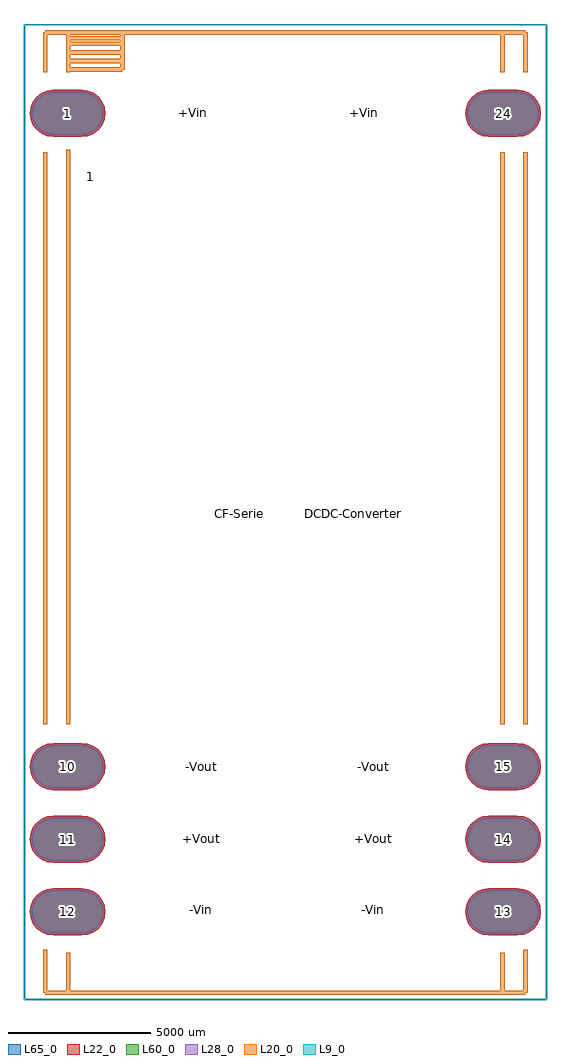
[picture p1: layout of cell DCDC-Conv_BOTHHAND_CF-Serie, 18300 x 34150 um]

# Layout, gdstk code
import gdstk
lib = gdstk.Library(unit=1e-6, precision=1e-09)
def P(c, l, *ps):  # polygons
    for p in ps: c.add(gdstk.Polygon(p, *l))
L9_0 = (9, 0)
L20_0 = (20, 0)
L22_0 = (22, 0)
L28_0 = (28, 0)
L60_0 = (60, 0)
L65_0 = (65, 0)

dcdc_conv_bothhand_cf_se = lib.new_cell('DCDC-Conv_BOTHHAND_CF-Serie')
P(dcdc_conv_bothhand_cf_se, L22_0, [(14740.89,-825.57),(15739.11,-825.57),(15952.783,-797.439),(16151.895,-714.965),(16322.876,-583.766),(16454.075,-412.785),(16536.549,-213.673),(16564.68,0),(16536.549,213.673),(16454.075,412.785),(16322.876,583.766),(16151.895,714.965),(15952.783,797.439),(15739.11,825.57),(14740.89,825.57),(14527.217,797.439),(14328.105,714.965),(14157.124,583.766),(14025.925,412.785),(13943.451,213.673),(13915.32,0),(13943.451,-213.673),(14025.925,-412.785),(14157.124,-583.766),(14328.105,-714.965),(14527.217,-797.439)],
  [(14740.89,-23685.57),(15739.11,-23685.57),(15952.783,-23657.439),(16151.895,-23574.965),(16322.876,-23443.766),(16454.075,-23272.785),(16536.549,-23073.673),(16564.68,-22860),(16536.549,-22646.327),(16454.075,-22447.215),(16322.876,-22276.234),(16151.895,-22145.035),(15952.783,-22062.561),(15739.11,-22034.43),(14740.89,-22034.43),(14527.217,-22062.561),(14328.105,-22145.035),(14157.124,-22276.234),(14025.925,-22447.215),(13943.451,-22646.327),(13915.32,-22860),(13943.451,-23073.673),(14025.925,-23272.785),(14157.124,-23443.766),(14328.105,-23574.965),(14527.217,-23657.439)],
  [(14740.89,-26225.57),(15739.11,-26225.57),(15952.783,-26197.439),(16151.895,-26114.965),(16322.876,-25983.766),(16454.075,-25812.785),(16536.549,-25613.673),(16564.68,-25400),(16536.549,-25186.327),(16454.075,-24987.215),(16322.876,-24816.234),(16151.895,-24685.035),(15952.783,-24602.561),(15739.11,-24574.43),(14740.89,-24574.43),(14527.217,-24602.561),(14328.105,-24685.035),(14157.124,-24816.234),(14025.925,-24987.215),(13943.451,-25186.327),(13915.32,-25400),(13943.451,-25613.673),(14025.925,-25812.785),(14157.124,-25983.766),(14328.105,-26114.965),(14527.217,-26197.439)],
  [(14740.89,-28765.57),(15739.11,-28765.57),(15952.783,-28737.439),(16151.895,-28654.965),(16322.876,-28523.766),(16454.075,-28352.785),(16536.549,-28153.673),(16564.68,-27940),(16536.549,-27726.327),(16454.075,-27527.215),(16322.876,-27356.234),(16151.895,-27225.035),(15952.783,-27142.561),(15739.11,-27114.43),(14740.89,-27114.43),(14527.217,-27142.561),(14328.105,-27225.035),(14157.124,-27356.234),(14025.925,-27527.215),(13943.451,-27726.327),(13915.32,-27940),(13943.451,-28153.673),(14025.925,-28352.785),(14157.124,-28523.766),(14328.105,-28654.965),(14527.217,-28737.439)],
  [(-499.11,-28765.57),(499.11,-28765.57),(712.783,-28737.439),(911.895,-28654.965),(1082.876,-28523.766),(1214.075,-28352.785),(1296.549,-28153.673),(1324.68,-27940),(1296.549,-27726.327),(1214.075,-27527.215),(1082.876,-27356.234),(911.895,-27225.035),(712.783,-27142.561),(499.11,-27114.43),(-499.11,-27114.43),(-712.783,-27142.561),(-911.895,-27225.035),(-1082.876,-27356.234),(-1214.075,-27527.215),(-1296.549,-27726.327),(-1324.68,-27940),(-1296.549,-28153.673),(-1214.075,-28352.785),(-1082.876,-28523.766),(-911.895,-28654.965),(-712.783,-28737.439)],
  [(-499.11,-26225.57),(499.11,-26225.57),(712.783,-26197.439),(911.895,-26114.965),(1082.876,-25983.766),(1214.075,-25812.785),(1296.549,-25613.673),(1324.68,-25400),(1296.549,-25186.327),(1214.075,-24987.215),(1082.876,-24816.234),(911.895,-24685.035),(712.783,-24602.561),(499.11,-24574.43),(-499.11,-24574.43),(-712.783,-24602.561),(-911.895,-24685.035),(-1082.876,-24816.234),(-1214.075,-24987.215),(-1296.549,-25186.327),(-1324.68,-25400),(-1296.549,-25613.673),(-1214.075,-25812.785),(-1082.876,-25983.766),(-911.895,-26114.965),(-712.783,-26197.439)],
  [(-499.11,-23685.57),(499.11,-23685.57),(712.783,-23657.439),(911.895,-23574.965),(1082.876,-23443.766),(1214.075,-23272.785),(1296.549,-23073.673),(1324.68,-22860),(1296.549,-22646.327),(1214.075,-22447.215),(1082.876,-22276.234),(911.895,-22145.035),(712.783,-22062.561),(499.11,-22034.43),(-499.11,-22034.43),(-712.783,-22062.561),(-911.895,-22145.035),(-1082.876,-22276.234),(-1214.075,-22447.215),(-1296.549,-22646.327),(-1324.68,-22860),(-1296.549,-23073.673),(-1214.075,-23272.785),(-1082.876,-23443.766),(-911.895,-23574.965),(-712.783,-23657.439)],
  [(-499.11,-825.57),(499.11,-825.57),(712.783,-797.439),(911.895,-714.965),(1082.876,-583.766),(1214.075,-412.785),(1296.549,-213.673),(1324.68,0),(1296.549,213.673),(1214.075,412.785),(1082.876,583.766),(911.895,714.965),(712.783,797.439),(499.11,825.57),(-499.11,825.57),(-712.783,797.439),(-911.895,714.965),(-1082.876,583.766),(-1214.075,412.785),(-1296.549,213.673),(-1324.68,0),(-1296.549,-213.673),(-1214.075,-412.785),(-1082.876,-583.766),(-911.895,-714.965),(-712.783,-797.439)])
P(dcdc_conv_bothhand_cf_se, L28_0, [(14740.89,-750.57),(15739.11,-750.57),(15933.372,-724.995),(16114.395,-650.013),(16269.843,-530.733),(16389.123,-375.285),(16464.105,-194.262),(16489.68,0),(16464.105,194.262),(16389.123,375.285),(16269.843,530.733),(16114.395,650.013),(15933.372,724.995),(15739.11,750.57),(14740.89,750.57),(14546.628,724.995),(14365.605,650.013),(14210.157,530.733),(14090.877,375.285),(14015.895,194.262),(13990.32,0),(14015.895,-194.262),(14090.877,-375.285),(14210.157,-530.733),(14365.605,-650.013),(14546.628,-724.995)],
  [(14740.89,-23610.57),(15739.11,-23610.57),(15933.372,-23584.995),(16114.395,-23510.013),(16269.843,-23390.733),(16389.123,-23235.285),(16464.105,-23054.262),(16489.68,-22860),(16464.105,-22665.738),(16389.123,-22484.715),(16269.843,-22329.267),(16114.395,-22209.987),(15933.372,-22135.005),(15739.11,-22109.43),(14740.89,-22109.43),(14546.628,-22135.005),(14365.605,-22209.987),(14210.157,-22329.267),(14090.877,-22484.715),(14015.895,-22665.738),(13990.32,-22860),(14015.895,-23054.262),(14090.877,-23235.285),(14210.157,-23390.733),(14365.605,-23510.013),(14546.628,-23584.995)],
  [(14740.89,-26150.57),(15739.11,-26150.57),(15933.372,-26124.995),(16114.395,-26050.013),(16269.843,-25930.733),(16389.123,-25775.285),(16464.105,-25594.262),(16489.68,-25400),(16464.105,-25205.738),(16389.123,-25024.715),(16269.843,-24869.267),(16114.395,-24749.987),(15933.372,-24675.005),(15739.11,-24649.43),(14740.89,-24649.43),(14546.628,-24675.005),(14365.605,-24749.987),(14210.157,-24869.267),(14090.877,-25024.715),(14015.895,-25205.738),(13990.32,-25400),(14015.895,-25594.262),(14090.877,-25775.285),(14210.157,-25930.733),(14365.605,-26050.013),(14546.628,-26124.995)],
  [(14740.89,-28690.57),(15739.11,-28690.57),(15933.372,-28664.995),(16114.395,-28590.013),(16269.843,-28470.733),(16389.123,-28315.285),(16464.105,-28134.262),(16489.68,-27940),(16464.105,-27745.738),(16389.123,-27564.715),(16269.843,-27409.267),(16114.395,-27289.987),(15933.372,-27215.005),(15739.11,-27189.43),(14740.89,-27189.43),(14546.628,-27215.005),(14365.605,-27289.987),(14210.157,-27409.267),(14090.877,-27564.715),(14015.895,-27745.738),(13990.32,-27940),(14015.895,-28134.262),(14090.877,-28315.285),(14210.157,-28470.733),(14365.605,-28590.013),(14546.628,-28664.995)],
  [(-499.11,-28690.57),(499.11,-28690.57),(693.372,-28664.995),(874.395,-28590.013),(1029.843,-28470.733),(1149.123,-28315.285),(1224.105,-28134.262),(1249.68,-27940),(1224.105,-27745.738),(1149.123,-27564.715),(1029.843,-27409.267),(874.395,-27289.987),(693.372,-27215.005),(499.11,-27189.43),(-499.11,-27189.43),(-693.372,-27215.005),(-874.395,-27289.987),(-1029.843,-27409.267),(-1149.123,-27564.715),(-1224.105,-27745.738),(-1249.68,-27940),(-1224.105,-28134.262),(-1149.123,-28315.285),(-1029.843,-28470.733),(-874.395,-28590.013),(-693.372,-28664.995)],
  [(-499.11,-26150.57),(499.11,-26150.57),(693.372,-26124.995),(874.395,-26050.013),(1029.843,-25930.733),(1149.123,-25775.285),(1224.105,-25594.262),(1249.68,-25400),(1224.105,-25205.738),(1149.123,-25024.715),(1029.843,-24869.267),(874.395,-24749.987),(693.372,-24675.005),(499.11,-24649.43),(-499.11,-24649.43),(-693.372,-24675.005),(-874.395,-24749.987),(-1029.843,-24869.267),(-1149.123,-25024.715),(-1224.105,-25205.738),(-1249.68,-25400),(-1224.105,-25594.262),(-1149.123,-25775.285),(-1029.843,-25930.733),(-874.395,-26050.013),(-693.372,-26124.995)],
  [(-499.11,-23610.57),(499.11,-23610.57),(693.372,-23584.995),(874.395,-23510.013),(1029.843,-23390.733),(1149.123,-23235.285),(1224.105,-23054.262),(1249.68,-22860),(1224.105,-22665.738),(1149.123,-22484.715),(1029.843,-22329.267),(874.395,-22209.987),(693.372,-22135.005),(499.11,-22109.43),(-499.11,-22109.43),(-693.372,-22135.005),(-874.395,-22209.987),(-1029.843,-22329.267),(-1149.123,-22484.715),(-1224.105,-22665.738),(-1249.68,-22860),(-1224.105,-23054.262),(-1149.123,-23235.285),(-1029.843,-23390.733),(-874.395,-23510.013),(-693.372,-23584.995)],
  [(-499.11,-750.57),(499.11,-750.57),(693.372,-724.995),(874.395,-650.013),(1029.843,-530.733),(1149.123,-375.285),(1224.105,-194.262),(1249.68,0),(1224.105,194.262),(1149.123,375.285),(1029.843,530.733),(874.395,650.013),(693.372,724.995),(499.11,750.57),(-499.11,750.57),(-693.372,724.995),(-874.395,650.013),(-1029.843,530.733),(-1149.123,375.285),(-1224.105,194.262),(-1249.68,0),(-1224.105,-194.262),(-1149.123,-375.285),(-1029.843,-530.733),(-874.395,-650.013),(-693.372,-724.995)])
P(dcdc_conv_bothhand_cf_se, L60_0, [(14740.89,-750.57),(15739.11,-750.57),(15933.372,-724.995),(16114.395,-650.013),(16269.843,-530.733),(16389.123,-375.285),(16464.105,-194.262),(16489.68,0),(16464.105,194.262),(16389.123,375.285),(16269.843,530.733),(16114.395,650.013),(15933.372,724.995),(15739.11,750.57),(14740.89,750.57),(14546.628,724.995),(14365.605,650.013),(14210.157,530.733),(14090.877,375.285),(14015.895,194.262),(13990.32,0),(14015.895,-194.262),(14090.877,-375.285),(14210.157,-530.733),(14365.605,-650.013),(14546.628,-724.995)],
  [(14740.89,-23610.57),(15739.11,-23610.57),(15933.372,-23584.995),(16114.395,-23510.013),(16269.843,-23390.733),(16389.123,-23235.285),(16464.105,-23054.262),(16489.68,-22860),(16464.105,-22665.738),(16389.123,-22484.715),(16269.843,-22329.267),(16114.395,-22209.987),(15933.372,-22135.005),(15739.11,-22109.43),(14740.89,-22109.43),(14546.628,-22135.005),(14365.605,-22209.987),(14210.157,-22329.267),(14090.877,-22484.715),(14015.895,-22665.738),(13990.32,-22860),(14015.895,-23054.262),(14090.877,-23235.285),(14210.157,-23390.733),(14365.605,-23510.013),(14546.628,-23584.995)],
  [(14740.89,-26150.57),(15739.11,-26150.57),(15933.372,-26124.995),(16114.395,-26050.013),(16269.843,-25930.733),(16389.123,-25775.285),(16464.105,-25594.262),(16489.68,-25400),(16464.105,-25205.738),(16389.123,-25024.715),(16269.843,-24869.267),(16114.395,-24749.987),(15933.372,-24675.005),(15739.11,-24649.43),(14740.89,-24649.43),(14546.628,-24675.005),(14365.605,-24749.987),(14210.157,-24869.267),(14090.877,-25024.715),(14015.895,-25205.738),(13990.32,-25400),(14015.895,-25594.262),(14090.877,-25775.285),(14210.157,-25930.733),(14365.605,-26050.013),(14546.628,-26124.995)],
  [(14740.89,-28690.57),(15739.11,-28690.57),(15933.372,-28664.995),(16114.395,-28590.013),(16269.843,-28470.733),(16389.123,-28315.285),(16464.105,-28134.262),(16489.68,-27940),(16464.105,-27745.738),(16389.123,-27564.715),(16269.843,-27409.267),(16114.395,-27289.987),(15933.372,-27215.005),(15739.11,-27189.43),(14740.89,-27189.43),(14546.628,-27215.005),(14365.605,-27289.987),(14210.157,-27409.267),(14090.877,-27564.715),(14015.895,-27745.738),(13990.32,-27940),(14015.895,-28134.262),(14090.877,-28315.285),(14210.157,-28470.733),(14365.605,-28590.013),(14546.628,-28664.995)],
  [(-499.11,-28690.57),(499.11,-28690.57),(693.372,-28664.995),(874.395,-28590.013),(1029.843,-28470.733),(1149.123,-28315.285),(1224.105,-28134.262),(1249.68,-27940),(1224.105,-27745.738),(1149.123,-27564.715),(1029.843,-27409.267),(874.395,-27289.987),(693.372,-27215.005),(499.11,-27189.43),(-499.11,-27189.43),(-693.372,-27215.005),(-874.395,-27289.987),(-1029.843,-27409.267),(-1149.123,-27564.715),(-1224.105,-27745.738),(-1249.68,-27940),(-1224.105,-28134.262),(-1149.123,-28315.285),(-1029.843,-28470.733),(-874.395,-28590.013),(-693.372,-28664.995)],
  [(-499.11,-26150.57),(499.11,-26150.57),(693.372,-26124.995),(874.395,-26050.013),(1029.843,-25930.733),(1149.123,-25775.285),(1224.105,-25594.262),(1249.68,-25400),(1224.105,-25205.738),(1149.123,-25024.715),(1029.843,-24869.267),(874.395,-24749.987),(693.372,-24675.005),(499.11,-24649.43),(-499.11,-24649.43),(-693.372,-24675.005),(-874.395,-24749.987),(-1029.843,-24869.267),(-1149.123,-25024.715),(-1224.105,-25205.738),(-1249.68,-25400),(-1224.105,-25594.262),(-1149.123,-25775.285),(-1029.843,-25930.733),(-874.395,-26050.013),(-693.372,-26124.995)],
  [(-499.11,-23610.57),(499.11,-23610.57),(693.372,-23584.995),(874.395,-23510.013),(1029.843,-23390.733),(1149.123,-23235.285),(1224.105,-23054.262),(1249.68,-22860),(1224.105,-22665.738),(1149.123,-22484.715),(1029.843,-22329.267),(874.395,-22209.987),(693.372,-22135.005),(499.11,-22109.43),(-499.11,-22109.43),(-693.372,-22135.005),(-874.395,-22209.987),(-1029.843,-22329.267),(-1149.123,-22484.715),(-1224.105,-22665.738),(-1249.68,-22860),(-1224.105,-23054.262),(-1149.123,-23235.285),(-1029.843,-23390.733),(-874.395,-23510.013),(-693.372,-23584.995)],
  [(-499.11,-750.57),(499.11,-750.57),(693.372,-724.995),(874.395,-650.013),(1029.843,-530.733),(1149.123,-375.285),(1224.105,-194.262),(1249.68,0),(1224.105,194.262),(1149.123,375.285),(1029.843,530.733),(874.395,650.013),(693.372,724.995),(499.11,750.57),(-499.11,750.57),(-693.372,724.995),(-874.395,650.013),(-1029.843,530.733),(-1149.123,375.285),(-1224.105,194.262),(-1249.68,0),(-1224.105,-194.262),(-1149.123,-375.285),(-1029.843,-530.733),(-874.395,-650.013),(-693.372,-724.995)])
P(dcdc_conv_bothhand_cf_se, L65_0, [(14740.89,-825.57),(15739.11,-825.57),(15952.783,-797.439),(16151.895,-714.965),(16322.876,-583.766),(16454.075,-412.785),(16536.549,-213.673),(16564.68,0),(16536.549,213.673),(16454.075,412.785),(16322.876,583.766),(16151.895,714.965),(15952.783,797.439),(15739.11,825.57),(14740.89,825.57),(14527.217,797.439),(14328.105,714.965),(14157.124,583.766),(14025.925,412.785),(13943.451,213.673),(13915.32,0),(13943.451,-213.673),(14025.925,-412.785),(14157.124,-583.766),(14328.105,-714.965),(14527.217,-797.439)],
  [(14740.89,-23685.57),(15739.11,-23685.57),(15952.783,-23657.439),(16151.895,-23574.965),(16322.876,-23443.766),(16454.075,-23272.785),(16536.549,-23073.673),(16564.68,-22860),(16536.549,-22646.327),(16454.075,-22447.215),(16322.876,-22276.234),(16151.895,-22145.035),(15952.783,-22062.561),(15739.11,-22034.43),(14740.89,-22034.43),(14527.217,-22062.561),(14328.105,-22145.035),(14157.124,-22276.234),(14025.925,-22447.215),(13943.451,-22646.327),(13915.32,-22860),(13943.451,-23073.673),(14025.925,-23272.785),(14157.124,-23443.766),(14328.105,-23574.965),(14527.217,-23657.439)],
  [(14740.89,-26225.57),(15739.11,-26225.57),(15952.783,-26197.439),(16151.895,-26114.965),(16322.876,-25983.766),(16454.075,-25812.785),(16536.549,-25613.673),(16564.68,-25400),(16536.549,-25186.327),(16454.075,-24987.215),(16322.876,-24816.234),(16151.895,-24685.035),(15952.783,-24602.561),(15739.11,-24574.43),(14740.89,-24574.43),(14527.217,-24602.561),(14328.105,-24685.035),(14157.124,-24816.234),(14025.925,-24987.215),(13943.451,-25186.327),(13915.32,-25400),(13943.451,-25613.673),(14025.925,-25812.785),(14157.124,-25983.766),(14328.105,-26114.965),(14527.217,-26197.439)],
  [(14740.89,-28765.57),(15739.11,-28765.57),(15952.783,-28737.439),(16151.895,-28654.965),(16322.876,-28523.766),(16454.075,-28352.785),(16536.549,-28153.673),(16564.68,-27940),(16536.549,-27726.327),(16454.075,-27527.215),(16322.876,-27356.234),(16151.895,-27225.035),(15952.783,-27142.561),(15739.11,-27114.43),(14740.89,-27114.43),(14527.217,-27142.561),(14328.105,-27225.035),(14157.124,-27356.234),(14025.925,-27527.215),(13943.451,-27726.327),(13915.32,-27940),(13943.451,-28153.673),(14025.925,-28352.785),(14157.124,-28523.766),(14328.105,-28654.965),(14527.217,-28737.439)],
  [(-499.11,-28765.57),(499.11,-28765.57),(712.783,-28737.439),(911.895,-28654.965),(1082.876,-28523.766),(1214.075,-28352.785),(1296.549,-28153.673),(1324.68,-27940),(1296.549,-27726.327),(1214.075,-27527.215),(1082.876,-27356.234),(911.895,-27225.035),(712.783,-27142.561),(499.11,-27114.43),(-499.11,-27114.43),(-712.783,-27142.561),(-911.895,-27225.035),(-1082.876,-27356.234),(-1214.075,-27527.215),(-1296.549,-27726.327),(-1324.68,-27940),(-1296.549,-28153.673),(-1214.075,-28352.785),(-1082.876,-28523.766),(-911.895,-28654.965),(-712.783,-28737.439)],
  [(-499.11,-26225.57),(499.11,-26225.57),(712.783,-26197.439),(911.895,-26114.965),(1082.876,-25983.766),(1214.075,-25812.785),(1296.549,-25613.673),(1324.68,-25400),(1296.549,-25186.327),(1214.075,-24987.215),(1082.876,-24816.234),(911.895,-24685.035),(712.783,-24602.561),(499.11,-24574.43),(-499.11,-24574.43),(-712.783,-24602.561),(-911.895,-24685.035),(-1082.876,-24816.234),(-1214.075,-24987.215),(-1296.549,-25186.327),(-1324.68,-25400),(-1296.549,-25613.673),(-1214.075,-25812.785),(-1082.876,-25983.766),(-911.895,-26114.965),(-712.783,-26197.439)],
  [(-499.11,-23685.57),(499.11,-23685.57),(712.783,-23657.439),(911.895,-23574.965),(1082.876,-23443.766),(1214.075,-23272.785),(1296.549,-23073.673),(1324.68,-22860),(1296.549,-22646.327),(1214.075,-22447.215),(1082.876,-22276.234),(911.895,-22145.035),(712.783,-22062.561),(499.11,-22034.43),(-499.11,-22034.43),(-712.783,-22062.561),(-911.895,-22145.035),(-1082.876,-22276.234),(-1214.075,-22447.215),(-1296.549,-22646.327),(-1324.68,-22860),(-1296.549,-23073.673),(-1214.075,-23272.785),(-1082.876,-23443.766),(-911.895,-23574.965),(-712.783,-23657.439)],
  [(-499.11,-825.57),(499.11,-825.57),(712.783,-797.439),(911.895,-714.965),(1082.876,-583.766),(1214.075,-412.785),(1296.549,-213.673),(1324.68,0),(1296.549,213.673),(1214.075,412.785),(1082.876,583.766),(911.895,714.965),(712.783,797.439),(499.11,825.57),(-499.11,825.57),(-712.783,797.439),(-911.895,714.965),(-1082.876,583.766),(-1214.075,412.785),(-1296.549,213.673),(-1324.68,0),(-1296.549,-213.673),(-1214.075,-412.785),(-1082.876,-583.766),(-911.895,-714.965),(-712.783,-797.439)])
dcdc_conv_bothhand_cf_se.add(gdstk.FlexPath([(20.32,-30769.6),(15219.7,-30769.6)], 149.998, ends="flush", simple_path=True, layer=20, datatype=0))  # L20_0
dcdc_conv_bothhand_cf_se.add(gdstk.FlexPath([(15219.7,2829.6),(20.32,2829.6)], 149.998, ends="flush", simple_path=True, layer=20, datatype=0))  # L20_0
dcdc_conv_bothhand_cf_se.add(gdstk.FlexPath([(15219.7,2829.6),(15219.7,1430)], 149.998, ends="flush", simple_path=True, layer=20, datatype=0))  # L20_0
dcdc_conv_bothhand_cf_se.add(gdstk.FlexPath([(15219.7,-4069.08),(15219.7,-21369)], 149.998, ends="flush", simple_path=True, layer=20, datatype=0))  # L20_0
dcdc_conv_bothhand_cf_se.add(gdstk.FlexPath([(15219.7,-29370),(15219.7,-30769.6)], 149.998, ends="flush", simple_path=True, layer=20, datatype=0))  # L20_0
dcdc_conv_bothhand_cf_se.add(gdstk.FlexPath([(20.32,-30769.6),(20.32,-29370)], 149.998, ends="flush", simple_path=True, layer=20, datatype=0))  # L20_0
dcdc_conv_bothhand_cf_se.add(gdstk.FlexPath([(20.32,-21369),(20.32,-3970.02)], 149.998, ends="flush", simple_path=True, layer=20, datatype=0))  # L20_0
dcdc_conv_bothhand_cf_se.add(gdstk.FlexPath([(15219.7,-4069.08),(15219.7,-1369.1)], 149.998, ends="flush", simple_path=True, layer=20, datatype=0))  # L20_0
dcdc_conv_bothhand_cf_se.add(gdstk.FlexPath([(20.32,-3970.02),(20.32,-1270)], 149.998, ends="flush", simple_path=True, layer=20, datatype=0))  # L20_0
dcdc_conv_bothhand_cf_se.add(gdstk.FlexPath([(16019.8,-30769.6),(16019.8,-29271)], 149.998, ends="flush", simple_path=True, layer=20, datatype=0))  # L20_0
dcdc_conv_bothhand_cf_se.add(gdstk.FlexPath([(15219.7,-30769.6),(16019.8,-30769.6)], 149.998, ends="flush", simple_path=True, layer=20, datatype=0))  # L20_0
dcdc_conv_bothhand_cf_se.add(gdstk.FlexPath([(16019.8,-21369),(16019.8,-1369.1)], 149.998, ends="flush", simple_path=True, layer=20, datatype=0))  # L20_0
dcdc_conv_bothhand_cf_se.add(gdstk.FlexPath([(16019.8,2829.6),(16019.8,1430)], 149.998, ends="flush", simple_path=True, layer=20, datatype=0))  # L20_0
dcdc_conv_bothhand_cf_se.add(gdstk.FlexPath([(15219.7,2829.6),(16019.8,2829.6)], 149.998, ends="flush", simple_path=True, layer=20, datatype=0))  # L20_0
dcdc_conv_bothhand_cf_se.add(gdstk.FlexPath([(-779.78,-30769.6),(-779.78,-29271)], 149.998, ends="flush", simple_path=True, layer=20, datatype=0))  # L20_0
dcdc_conv_bothhand_cf_se.add(gdstk.FlexPath([(20.32,-30769.6),(-779.78,-30769.6)], 149.998, ends="flush", simple_path=True, layer=20, datatype=0))  # L20_0
dcdc_conv_bothhand_cf_se.add(gdstk.FlexPath([(-779.78,-21369),(-779.78,-1369.1)], 149.998, ends="flush", simple_path=True, layer=20, datatype=0))  # L20_0
dcdc_conv_bothhand_cf_se.add(gdstk.FlexPath([(-779.78,2829.6),(-779.78,1430)], 149.998, ends="flush", simple_path=True, layer=20, datatype=0))  # L20_0
dcdc_conv_bothhand_cf_se.add(gdstk.FlexPath([(20.32,2829.6),(-779.78,2829.6)], 149.998, ends="flush", simple_path=True, layer=20, datatype=0))  # L20_0
dcdc_conv_bothhand_cf_se.add(gdstk.FlexPath([(20.32,2829.6),(20.32,1430)], 149.998, ends="flush", simple_path=True, layer=20, datatype=0))  # L20_0
dcdc_conv_bothhand_cf_se.add(gdstk.FlexPath([(1920.24,1529.1),(20.32,1529.1)], 149.998, ends="flush", simple_path=True, layer=20, datatype=0))  # L20_0
dcdc_conv_bothhand_cf_se.add(gdstk.FlexPath([(1920.24,2730.5),(1920.24,1529.1)], 149.998, ends="flush", simple_path=True, layer=20, datatype=0))  # L20_0
dcdc_conv_bothhand_cf_se.add(gdstk.FlexPath([(1821.18,1828.8),(119.38,1828.8)], 149.998, ends="flush", simple_path=True, layer=20, datatype=0))  # L20_0
dcdc_conv_bothhand_cf_se.add(gdstk.FlexPath([(1821.18,2131.1),(119.38,2131.1)], 149.998, ends="flush", simple_path=True, layer=20, datatype=0))  # L20_0
dcdc_conv_bothhand_cf_se.add(gdstk.FlexPath([(1920.24,2430.8),(20.32,2430.8)], 149.998, ends="flush", simple_path=True, layer=20, datatype=0))  # L20_0
dcdc_conv_bothhand_cf_se.add(gdstk.FlexPath([(1920.24,2628.9),(20.32,2628.9)], 149.998, ends="flush", simple_path=True, layer=20, datatype=0))  # L20_0
dcdc_conv_bothhand_cf_se.add(gdstk.FlexPath([(-1500,-31000),(16750,-31000)], 50, ends="flush", simple_path=True, layer=9, datatype=0))  # L9_0
dcdc_conv_bothhand_cf_se.add(gdstk.FlexPath([(-1500,3100),(16750,3100)], 50, ends="flush", simple_path=True, layer=9, datatype=0))  # L9_0
dcdc_conv_bothhand_cf_se.add(gdstk.FlexPath([(16750,3100),(16750,-31000)], 50, ends="flush", simple_path=True, layer=9, datatype=0))  # L9_0
dcdc_conv_bothhand_cf_se.add(gdstk.FlexPath([(-1500,3100),(-1500,-31000)], 50, ends="flush", simple_path=True, layer=9, datatype=0))  # L9_0
dcdc_conv_bothhand_cf_se.add(gdstk.Label('24', (15240,0), layer=28, texttype=0))
dcdc_conv_bothhand_cf_se.add(gdstk.Label('15', (15240,-22860), layer=28, texttype=0))
dcdc_conv_bothhand_cf_se.add(gdstk.Label('14', (15240,-25400), layer=28, texttype=0))
dcdc_conv_bothhand_cf_se.add(gdstk.Label('13', (15240,-27940), layer=28, texttype=0))
dcdc_conv_bothhand_cf_se.add(gdstk.Label('12', (0,-27940), layer=28, texttype=0))
dcdc_conv_bothhand_cf_se.add(gdstk.Label('11', (0,-25400), layer=28, texttype=0))
dcdc_conv_bothhand_cf_se.add(gdstk.Label('10', (0,-22860), layer=28, texttype=0))
dcdc_conv_bothhand_cf_se.add(gdstk.Label('1', (0,0), layer=28, texttype=0))
dcdc_conv_bothhand_cf_se.add(gdstk.Label('+Vin', (4398.296,37.834), layer=9, texttype=0))
dcdc_conv_bothhand_cf_se.add(gdstk.Label('+Vin', (10397.776,37.834), layer=9, texttype=0))
dcdc_conv_bothhand_cf_se.add(gdstk.Label('-Vin', (4698.296,-27863.126), layer=9, texttype=0))
dcdc_conv_bothhand_cf_se.add(gdstk.Label('-Vin', (10697.776,-27863.126), layer=9, texttype=0))
dcdc_conv_bothhand_cf_se.add(gdstk.Label('+Vout', (4698.296,-25363.766), layer=9, texttype=0))
dcdc_conv_bothhand_cf_se.add(gdstk.Label('+Vout', (10697.776,-25363.766), layer=9, texttype=0))
dcdc_conv_bothhand_cf_se.add(gdstk.Label('-Vout', (4698.296,-22861.866), layer=9, texttype=0))
dcdc_conv_bothhand_cf_se.add(gdstk.Label('-Vout', (10697.776,-22861.866), layer=9, texttype=0))
dcdc_conv_bothhand_cf_se.add(gdstk.Label('1', (800,-2200), layer=9, texttype=0))
dcdc_conv_bothhand_cf_se.add(gdstk.Label('DCDC-Converter', (10000,-14000), layer=9, texttype=0))
dcdc_conv_bothhand_cf_se.add(gdstk.Label('BOTHHAND', (8000,-14000), layer=9, texttype=0))
dcdc_conv_bothhand_cf_se.add(gdstk.Label('CF-Serie', (6000,-14000), layer=9, texttype=0))
dcdc_conv_bothhand_cf_se.add(gdstk.Label('type', (0,4650), layer=9, texttype=0))
dcdc_conv_bothhand_cf_se.add(gdstk.Label('devicename', (0,6650), layer=9, texttype=0))

lib.write_gds('DCDC-Conv_BOTHHAND_CF-Serie.gds')
